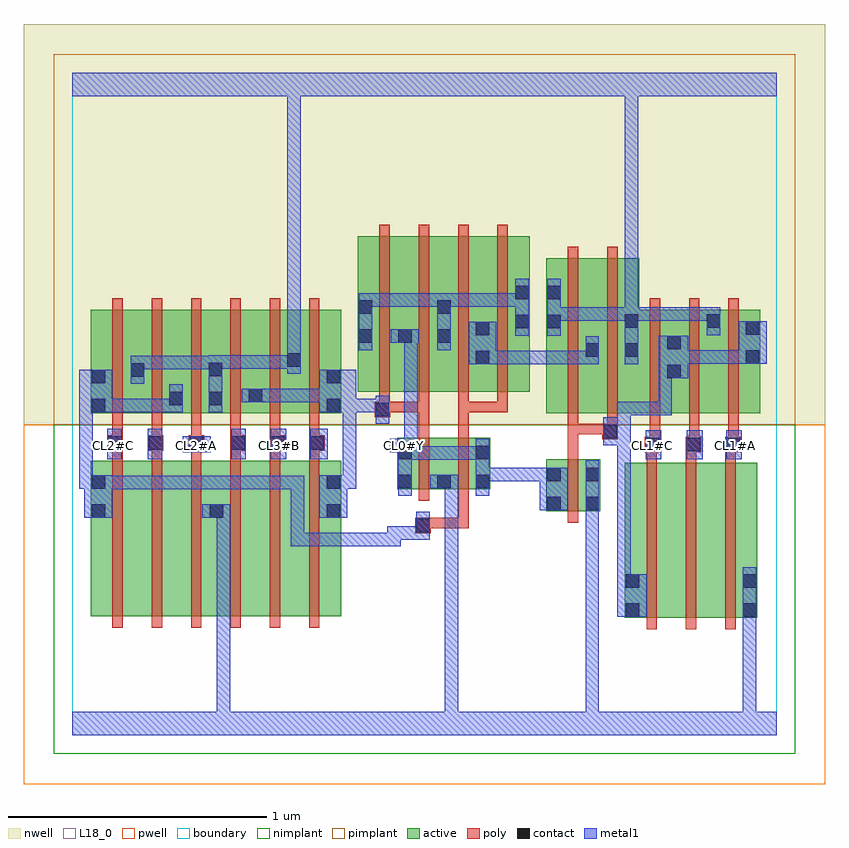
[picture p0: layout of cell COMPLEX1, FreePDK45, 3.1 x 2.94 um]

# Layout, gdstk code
import gdstk
lib = gdstk.Library(unit=1e-6, precision=1e-09)
def R(c, l, rs):  # rectangles x0, y0, x1, y1
    for r in rs: c.add(gdstk.rectangle(r[:2], r[2:], *l))
def A(c, l, x, y, w, h, nx, ny, dx, dy):  # array of equal rectangles
    R(c, l, [(x+i*dx, y+j*dy, x+i*dx+w, y+j*dy+h) for i in range(nx) for j in range(ny)])
active = (1, 0)
pwell = (2, 0)
nwell = (3, 0)
nimplant = (4, 0)
pimplant = (5, 0)
poly = (9, 0)
contact = (10, 0)
metal1 = (11, 0)
L18_0 = (18, 0)
boundary = (235, 0)

complex1 = lib.new_cell('COMPLEX1')
A(complex1, active, 2.294, 1.244, 0.06, 0.4, 3, 1, 0.152, 0)
R(complex1, active, [(2.134,0.454,2.194,1.054), (2.134,0.454,2.314,1.054), (2.314,0.454,2.466,1.054), (2.466,0.454,2.646,1.054), (2.586,0.454,2.646,1.054), (0.07,0.46,0.25,1.06), (0.25,0.46,0.402,1.06), (0.402,0.46,0.586,1.06), (0.526,0.46,0.706,1.06), (0.706,0.46,0.858,1.06), (0.858,0.46,1.038,1.06), (0.07,0.556,0.13,1.06), (0.526,0.556,0.586,0.896), (0.978,0.556,1.038,1.06), (1.83,0.866,1.89,1.066), (1.83,0.866,2.038,1.066), (1.978,0.866,2.038,1.066), (1.254,0.95,1.314,1.15), (1.254,0.95,1.466,1.15), (1.406,0.95,1.614,1.15), (1.406,0.95,1.466,1.01), (1.554,0.95,1.614,1.15), (0.07,1.244,0.13,1.644), (0.07,1.244,0.282,1.644), (0.222,1.244,0.43,1.644), (0.37,1.244,0.43,1.644), (0.37,1.244,0.582,1.644), (0.522,1.244,0.582,1.644), (0.522,1.244,0.738,1.644), (0.678,1.244,0.738,1.644), (0.678,1.244,0.886,1.644), (0.826,1.244,0.886,1.644), (0.826,1.244,1.038,1.644), (0.978,1.244,1.038,1.644), (1.83,1.244,1.89,1.844), (1.83,1.244,2.038,1.844), (1.978,1.244,2.038,1.844), (1.978,1.244,2.19,1.844), (2.13,1.244,2.19,1.844), (2.13,1.244,2.354,1.644), (2.294,1.244,2.506,1.644), (2.446,1.244,2.658,1.644), (1.102,1.328,1.314,1.928), (1.102,1.328,1.162,1.844), (1.254,1.328,1.466,1.928), (1.406,1.328,1.614,1.928), (1.554,1.328,1.766,1.928), (1.706,1.328,1.766,1.844), (0.222,1.382,0.282,1.644), (1.554,1.43,1.614,1.844), (1.254,1.512,1.314,1.844), (1.406,1.512,1.466,1.844)])
R(complex1, pwell, [(-0.188,-0.188,2.908,1.2)])
R(complex1, nwell, [(-0.188,1.2,2.908,2.748)])
R(complex1, nimplant, [(-0.072,-0.072,2.792,1.2)])
R(complex1, pimplant, [(-0.072,1.2,2.792,2.632)])
A(complex1, poly, 2.218, 0.41, 0.04, 0.688, 3, 1, 0.152, 0)
A(complex1, poly, 0.154, 0.416, 0.04, 0.688, 6, 1, 0.152, 0)
A(complex1, poly, 2.218, 1.058, 0.04, 0.076, 3, 1, 0.152, 0)
A(complex1, poly, 0.154, 1.064, 0.04, 0.076, 6, 1, 0.152, 0)
A(complex1, poly, 0.29, 1.1, 0.06, 0.06, 3, 1, 0.16, 0)
A(complex1, poly, 2.23, 1.114, 0.04, 0.126, 3, 1, 0.152, 0)
A(complex1, poly, 0.154, 1.12, 0.04, 0.12, 6, 1, 0.152, 0)
A(complex1, poly, 0.154, 1.2, 0.04, 0.488, 6, 1, 0.152, 0)
A(complex1, poly, 2.23, 1.2, 0.04, 0.488, 3, 1, 0.152, 0)
A(complex1, poly, 1.186, 1.248, 0.04, 0.076, 4, 1, 0.152, 0)
A(complex1, poly, 1.186, 1.284, 0.04, 0.688, 4, 1, 0.152, 0)
R(complex1, poly, [(1.324,0.78,1.384,0.84), (1.344,0.8,1.384,0.84), (1.344,0.8,1.384,0.84), (1.344,0.8,1.53,0.84), (1.49,0.8,1.53,0.84), (1.49,0.8,1.53,0.946), (1.914,0.822,1.954,1.11), (1.338,0.906,1.378,1.194), (1.49,0.906,1.53,1.194), (1.914,1.07,1.954,1.204), (2.21,1.094,2.27,1.154), (2.37,1.094,2.41,1.134), (2.37,1.094,2.41,1.134), (2.37,1.094,2.43,1.154), (2.522,1.094,2.562,1.134), (2.522,1.094,2.562,1.134), (2.522,1.094,2.582,1.154), (0.134,1.1,0.194,1.16), (0.154,1.1,0.194,1.14), (0.154,1.1,0.194,1.14), (0.306,1.1,0.346,1.14), (0.306,1.1,0.346,1.14), (0.61,1.1,0.65,1.14), (0.61,1.1,0.65,1.14), (0.762,1.1,0.802,1.14), (0.762,1.1,0.802,1.14), (0.762,1.1,0.822,1.16), (0.914,1.1,0.954,1.14), (0.914,1.1,0.954,1.14), (0.914,1.1,0.974,1.16), (2.23,1.114,2.27,1.154), (2.23,1.114,2.27,1.154), (0.458,1.12,0.498,1.16), (0.458,1.12,0.498,1.16), (2.046,1.144,2.106,1.204), (1.338,1.154,1.378,1.288), (1.49,1.154,1.53,1.288), (1.914,1.164,1.954,1.204), (1.914,1.164,1.954,1.204), (1.914,1.164,1.954,1.204), (1.914,1.164,1.954,1.204), (1.914,1.164,1.954,1.204), (1.914,1.164,1.954,1.24), (1.914,1.164,2.086,1.204), (2.066,1.164,2.106,1.24), (1.914,1.2,1.954,1.888), (2.066,1.2,2.106,1.888), (1.168,1.228,1.228,1.288), (1.188,1.248,1.228,1.288), (1.188,1.248,1.228,1.288), (1.188,1.248,1.378,1.288), (1.338,1.248,1.378,1.288), (1.338,1.248,1.378,1.288), (1.338,1.248,1.378,1.288), (1.49,1.248,1.53,1.288), (1.49,1.248,1.53,1.288), (1.49,1.248,1.53,1.288), (1.49,1.248,1.682,1.288), (1.642,1.248,1.682,1.288), (1.642,1.248,1.682,1.288), (1.642,1.248,1.682,1.288)])
A(complex1, contact, 0.294, 1.104, 0.052, 0.052, 3, 1, 0.16, 0)
A(complex1, contact, 1.106, 1.516, 0.052, 0.052, 3, 1, 0.152, 0)
R(complex1, contact, [(2.138,0.458,2.19,0.51), (2.59,0.458,2.642,0.51), (2.138,0.57,2.19,0.622), (2.59,0.57,2.642,0.622), (1.328,0.784,1.38,0.836), (0.074,0.84,0.126,0.892), (0.53,0.84,0.582,0.892), (0.982,0.84,1.034,0.892), (1.834,0.87,1.886,0.922), (1.982,0.87,2.034,0.922), (0.074,0.952,0.126,1.004), (0.982,0.952,1.034,1.004), (1.258,0.954,1.31,1.006), (1.41,0.954,1.462,1.006), (1.558,0.954,1.61,1.006), (1.834,0.982,1.886,1.034), (1.982,0.982,2.034,1.034), (1.258,1.066,1.31,1.118), (1.558,1.066,1.61,1.118), (2.214,1.098,2.266,1.15), (2.374,1.098,2.426,1.15), (2.526,1.098,2.578,1.15), (0.138,1.104,0.19,1.156), (0.766,1.104,0.818,1.156), (0.918,1.104,0.97,1.156), (2.05,1.148,2.102,1.2), (1.172,1.232,1.224,1.284), (0.074,1.248,0.126,1.3), (0.982,1.248,1.034,1.3), (0.374,1.276,0.426,1.328), (0.526,1.276,0.578,1.328), (0.682,1.286,0.734,1.338), (0.074,1.36,0.126,1.412), (0.982,1.36,1.034,1.412), (2.298,1.38,2.35,1.432), (0.226,1.386,0.278,1.438), (0.526,1.388,0.578,1.44), (0.83,1.424,0.882,1.476), (1.558,1.434,1.61,1.486), (2.602,1.436,2.654,1.488), (1.982,1.462,2.034,1.514), (2.134,1.462,2.186,1.514), (2.298,1.492,2.35,1.544), (1.558,1.546,1.61,1.598), (2.602,1.548,2.654,1.6), (1.71,1.572,1.762,1.624), (1.834,1.572,1.886,1.624), (2.134,1.574,2.186,1.626), (2.45,1.574,2.502,1.626), (1.106,1.628,1.158,1.68), (1.41,1.628,1.462,1.68), (1.71,1.684,1.762,1.736), (1.834,1.684,1.886,1.736)])
A(complex1, metal1, 1.218, 1.656, 0.052, 0.052, 3, 1, 0.11, 0)
R(complex1, metal1, [(0,0,2.72,0.092), (0.558,0.04,0.61,0.092), (0.558,0.04,0.61,0.092), (0.558,0.04,0.61,0.092), (0.558,0.04,0.61,0.092), (0.558,0.04,0.61,0.092), (0.558,0.04,0.61,0.092), (0.558,0.04,0.61,0.092), (0.558,0.04,0.61,0.092), (0.558,0.04,0.61,0.892), (1.438,0.04,1.49,0.092), (1.438,0.04,1.49,0.092), (1.438,0.04,1.49,0.092), (1.438,0.04,1.49,0.092), (1.438,0.04,1.49,0.092), (1.438,0.04,1.49,0.092), (1.438,0.04,1.49,0.092), (1.438,0.04,1.49,0.092), (1.438,0.04,1.49,0.092), (1.438,0.04,1.49,0.092), (1.438,0.04,1.49,0.092), (1.438,0.04,1.49,0.092), (1.438,0.04,1.49,0.924), (1.982,0.04,2.034,0.092), (1.982,0.04,2.034,0.092), (1.982,0.04,2.034,0.092), (1.982,0.04,2.034,0.092), (1.982,0.04,2.034,0.092), (1.982,0.04,2.034,0.092), (1.982,0.04,2.034,0.092), (1.982,0.04,2.034,0.092), (1.982,0.04,2.034,0.092), (1.982,0.04,2.034,0.092), (1.982,0.04,2.034,0.092), (1.982,0.04,2.034,0.092), (1.982,0.04,2.034,0.092), (1.982,0.04,2.034,0.092), (1.982,0.04,2.034,0.092), (1.982,0.04,2.034,0.092), (1.982,0.04,2.034,0.894), (2.59,0.04,2.642,0.482), (2.59,0.43,2.642,0.482), (2.59,0.43,2.642,0.482), (2.59,0.43,2.642,0.482), (2.59,0.43,2.642,0.482), (2.59,0.43,2.642,0.482), (2.59,0.43,2.642,0.482), (2.59,0.43,2.642,0.482), (2.59,0.43,2.642,0.482), (2.59,0.43,2.642,0.65), (2.104,0.458,2.218,0.622), (2.104,0.57,2.156,0.622), (2.104,0.57,2.156,0.622), (2.104,0.57,2.156,1.228), (0.844,0.73,0.896,0.782), (0.844,0.73,0.896,0.782), (0.844,0.73,0.896,0.782), (0.844,0.73,1.114,0.782), (0.844,0.73,0.896,1.002), (1.062,0.73,1.114,0.782), (1.062,0.73,1.114,0.782), (1.062,0.73,1.114,0.782), (1.062,0.73,1.268,0.782), (1.216,0.73,1.268,0.808), (1.216,0.756,1.268,0.808), (1.216,0.756,1.268,0.808), (1.216,0.756,1.268,0.808), (1.216,0.756,1.268,0.808), (1.216,0.756,1.38,0.808), (1.328,0.756,1.38,0.864), (0.046,0.84,0.154,1.004), (0.502,0.84,0.61,0.892), (0.954,0.84,1.062,1.004), (1.982,0.842,2.034,1.062), (1.806,0.87,1.914,1.034), (1.438,0.872,1.49,0.924), (1.438,0.872,1.49,0.924), (1.438,0.872,1.49,0.924), (1.438,0.872,1.49,1.006), (1.258,0.926,1.31,1.146), (1.558,0.926,1.61,1.146), (0.102,0.95,0.154,1.002), (0.102,0.95,0.154,1.002), (0.102,0.95,0.278,1.002), (0.226,0.95,0.278,1.002), (0.226,0.95,0.278,1.002), (0.226,0.95,0.278,1.002), (0.226,0.95,0.388,1.002), (0.336,0.95,0.388,1.002), (0.336,0.95,0.388,1.002), (0.336,0.95,0.388,1.002), (0.336,0.95,0.498,1.002), (0.446,0.95,0.498,1.002), (0.446,0.95,0.498,1.002), (0.446,0.95,0.498,1.002), (0.446,0.95,0.688,1.002), (0.636,0.95,0.688,1.002), (0.636,0.95,0.688,1.002), (0.636,0.95,0.688,1.002), (0.636,0.95,0.896,1.002), (0.844,0.95,0.896,1.002), (0.026,0.952,0.078,1.3), (0.026,0.952,0.098,1.004), (0.046,0.952,0.098,1.004), (1.01,0.952,1.062,1.004), (1.01,0.952,1.096,1.004), (1.044,0.952,1.096,1.3), (1.382,0.954,1.49,1.006), (1.558,0.982,1.748,1.034), (1.696,0.982,1.748,1.034), (1.696,0.982,1.748,1.034), (1.696,0.982,1.748,1.034), (1.696,0.982,1.858,1.034), (1.258,1.064,1.38,1.116), (1.328,1.064,1.38,1.116), (1.328,1.064,1.444,1.116), (1.392,1.064,1.444,1.116), (1.392,1.064,1.49,1.116), (1.438,1.064,1.49,1.116), (1.438,1.064,1.61,1.116), (0.134,1.066,0.19,1.184), (0.29,1.066,0.346,1.184), (0.614,1.066,0.67,1.184), (0.766,1.066,0.826,1.184), (0.918,1.066,0.986,1.184), (2.214,1.066,2.274,1.178), (2.374,1.066,2.434,1.178), (2.526,1.066,2.586,1.178), (0.426,1.094,0.534,1.156), (1.226,1.094,1.334,1.146), (1.258,1.094,1.31,1.146), (1.282,1.094,1.334,1.568), (2.05,1.12,2.102,1.228), (2.05,1.176,2.156,1.228), (2.104,1.176,2.156,1.288), (1.172,1.204,1.224,1.312), (2.104,1.236,2.212,1.288), (2.16,1.236,2.212,1.288), (2.16,1.236,2.316,1.288), (2.264,1.236,2.316,1.288), (2.264,1.236,2.316,1.432), (0.026,1.248,0.078,1.3), (0.026,1.248,0.078,1.3), (0.026,1.248,0.154,1.412), (0.102,1.248,0.154,1.3), (0.102,1.248,0.154,1.3), (0.102,1.248,0.264,1.3), (0.212,1.248,0.264,1.3), (0.212,1.248,0.264,1.3), (0.212,1.248,0.264,1.3), (0.212,1.248,0.426,1.3), (0.374,1.248,0.426,1.356), (0.526,1.248,0.578,1.468), (0.954,1.248,1.096,1.412), (1.044,1.248,1.096,1.3), (1.044,1.248,1.096,1.3), (1.044,1.248,1.096,1.3), (1.044,1.248,1.096,1.3), (1.044,1.248,1.224,1.3), (0.654,1.286,0.762,1.338), (0.71,1.286,0.762,1.338), (0.71,1.286,0.762,1.338), (0.71,1.286,0.882,1.338), (0.83,1.286,0.882,1.338), (0.83,1.286,0.882,1.338), (0.83,1.286,0.882,1.338), (0.83,1.286,1.006,1.338), (0.226,1.358,0.278,1.466), (2.264,1.38,2.378,1.544), (0.83,1.396,0.882,1.504), (0.226,1.414,0.278,1.466), (0.226,1.414,0.278,1.466), (0.226,1.414,0.388,1.466), (0.336,1.414,0.388,1.466), (0.336,1.414,0.388,1.466), (0.336,1.414,0.388,1.466), (0.336,1.414,0.578,1.466), (0.526,1.416,0.578,1.468), (0.526,1.416,0.578,1.468), (0.526,1.416,0.772,1.468), (0.72,1.416,0.772,1.468), (0.72,1.416,0.772,1.468), (0.72,1.416,0.772,1.468), (0.72,1.416,0.882,1.468), (1.53,1.434,1.638,1.598), (1.586,1.434,1.638,1.486), (1.586,1.434,1.638,1.486), (1.586,1.434,1.748,1.486), (1.696,1.434,1.748,1.486), (1.696,1.434,1.924,1.486), (1.872,1.434,1.924,1.486), (1.872,1.434,1.924,1.486), (1.872,1.434,1.924,1.486), (1.872,1.434,2.034,1.486), (1.982,1.434,2.034,1.542), (2.134,1.434,2.186,1.654), (2.326,1.436,2.378,1.488), (2.326,1.436,2.378,1.488), (2.326,1.436,2.488,1.488), (2.436,1.436,2.626,1.488), (2.436,1.436,2.488,1.488), (2.436,1.436,2.488,1.488), (2.436,1.436,2.488,1.488), (2.574,1.436,2.682,1.6), (0.83,1.452,0.882,2.52), (1.106,1.488,1.158,1.708), (1.41,1.488,1.462,1.708), (1.23,1.516,1.338,1.568), (1.282,1.516,1.334,1.568), (1.282,1.516,1.334,1.568), (1.71,1.544,1.762,1.764), (1.834,1.544,1.886,1.764), (2.45,1.546,2.502,1.654), (1.834,1.602,1.886,1.654), (1.834,1.602,1.886,1.654), (1.834,1.602,2.046,1.654), (1.994,1.602,2.046,1.654), (1.994,1.602,2.046,1.654), (1.994,1.602,2.046,1.654), (1.994,1.602,2.186,1.654), (2.134,1.602,2.212,1.654), (2.134,1.602,2.186,2.52), (2.16,1.602,2.212,1.654), (2.16,1.602,2.322,1.654), (2.27,1.602,2.322,1.654), (2.27,1.602,2.322,1.654), (2.27,1.602,2.322,1.654), (2.27,1.602,2.322,1.654), (2.27,1.602,2.322,1.654), (2.27,1.602,2.322,1.654), (2.27,1.602,2.322,1.654), (2.27,1.602,2.502,1.654), (1.106,1.656,1.27,1.708), (1.218,1.656,1.27,1.708), (1.218,1.656,1.27,1.708), (1.218,1.656,1.38,1.708), (1.328,1.656,1.462,1.708), (1.41,1.656,1.49,1.708), (1.438,1.656,1.638,1.708), (1.586,1.656,1.638,1.708), (1.586,1.656,1.638,1.708), (1.586,1.656,1.638,1.708), (1.586,1.656,1.762,1.708), (0,2.468,2.72,2.56), (0.83,2.468,0.882,2.52), (0.83,2.468,0.882,2.52), (0.83,2.468,0.882,2.52), (0.83,2.468,0.882,2.52), (0.83,2.468,0.882,2.52), (0.83,2.468,0.882,2.52), (0.83,2.468,0.882,2.52), (0.83,2.468,0.882,2.52), (0.83,2.468,0.882,2.52), (0.83,2.468,0.882,2.52), (0.83,2.468,0.882,2.52), (0.83,2.468,0.882,2.52), (0.83,2.468,0.882,2.52), (0.83,2.468,0.882,2.52), (0.83,2.468,0.882,2.52), (0.83,2.468,0.882,2.52), (2.134,2.468,2.186,2.52), (2.134,2.468,2.186,2.52), (2.134,2.468,2.186,2.52), (2.134,2.468,2.186,2.52), (2.134,2.468,2.186,2.52), (2.134,2.468,2.186,2.52), (2.134,2.468,2.186,2.52), (2.134,2.468,2.186,2.52), (2.134,2.468,2.186,2.52), (2.134,2.468,2.186,2.52), (2.134,2.468,2.186,2.52), (2.134,2.468,2.186,2.52)])
A(complex1, L18_0, 0.134, 1.094, 0.052, 0.052, 6, 1, 0.16, 0)
A(complex1, L18_0, 2.214, 1.094, 0.052, 0.052, 3, 1, 0.16, 0)
R(complex1, L18_0, [(0,0,2.72,0.092), (0.558,0.04,0.61,0.092), (0.558,0.04,0.61,0.092), (0.558,0.04,0.61,0.092), (0.558,0.04,0.61,0.092), (0.558,0.04,0.61,0.092), (0.558,0.04,0.61,0.092), (0.558,0.04,0.61,0.092), (0.558,0.04,0.61,0.092), (0.558,0.04,0.61,0.892), (1.438,0.04,1.49,0.092), (1.438,0.04,1.49,0.092), (1.438,0.04,1.49,0.092), (1.438,0.04,1.49,0.092), (1.438,0.04,1.49,0.092), (1.438,0.04,1.49,0.092), (1.438,0.04,1.49,0.092), (1.438,0.04,1.49,0.092), (1.438,0.04,1.49,0.092), (1.438,0.04,1.49,0.092), (1.438,0.04,1.49,0.092), (1.438,0.04,1.49,0.092), (1.438,0.04,1.49,0.924), (1.982,0.04,2.034,0.092), (1.982,0.04,2.034,0.092), (1.982,0.04,2.034,0.092), (1.982,0.04,2.034,0.092), (1.982,0.04,2.034,0.092), (1.982,0.04,2.034,0.092), (1.982,0.04,2.034,0.092), (1.982,0.04,2.034,0.092), (1.982,0.04,2.034,0.092), (1.982,0.04,2.034,0.092), (1.982,0.04,2.034,0.092), (1.982,0.04,2.034,0.092), (1.982,0.04,2.034,0.092), (1.982,0.04,2.034,0.092), (1.982,0.04,2.034,0.092), (1.982,0.04,2.034,0.092), (1.982,0.04,2.034,0.894), (2.59,0.04,2.642,0.482), (2.59,0.43,2.642,0.482), (2.59,0.43,2.642,0.482), (2.59,0.43,2.642,0.482), (2.59,0.43,2.642,0.482), (2.59,0.43,2.642,0.482), (2.59,0.43,2.642,0.482), (2.59,0.43,2.642,0.482), (2.59,0.43,2.642,0.482), (2.59,0.43,2.642,0.65), (0.502,0.84,0.61,0.892), (1.982,0.842,2.034,1.062), (1.806,0.87,1.914,1.034), (1.438,0.872,1.49,0.924), (1.438,0.872,1.49,0.924), (1.438,0.872,1.49,0.924), (1.438,0.872,1.49,1.006), (1.258,0.926,1.31,1.146), (1.558,0.926,1.61,1.146), (1.382,0.954,1.49,1.006), (1.558,0.982,1.748,1.034), (1.696,0.982,1.748,1.034), (1.696,0.982,1.748,1.034), (1.696,0.982,1.748,1.034), (1.696,0.982,1.858,1.034), (1.258,1.064,1.38,1.116), (1.328,1.064,1.38,1.116), (1.328,1.064,1.444,1.116), (1.392,1.064,1.444,1.116), (1.392,1.064,1.49,1.116), (1.438,1.064,1.49,1.116), (1.438,1.064,1.61,1.116), (0.134,1.066,0.19,1.184), (0.29,1.066,0.346,1.184), (0.614,1.066,0.67,1.184), (0.766,1.066,0.826,1.184), (0.918,1.066,0.986,1.184), (2.214,1.066,2.274,1.178), (2.374,1.066,2.434,1.178), (2.526,1.066,2.586,1.178), (0.426,1.094,0.534,1.156), (1.226,1.094,1.334,1.146), (1.254,1.094,1.306,1.146), (1.258,1.094,1.31,1.146), (1.282,1.094,1.334,1.568), (0.526,1.248,0.578,1.468), (0.226,1.358,0.278,1.466), (0.83,1.396,0.882,1.504), (0.226,1.414,0.278,1.466), (0.226,1.414,0.278,1.466), (0.226,1.414,0.388,1.466), (0.336,1.414,0.388,1.466), (0.336,1.414,0.388,1.466), (0.336,1.414,0.388,1.466), (0.336,1.414,0.578,1.466), (0.526,1.416,0.578,1.468), (0.526,1.416,0.578,1.468), (0.526,1.416,0.772,1.468), (0.72,1.416,0.772,1.468), (0.72,1.416,0.772,1.468), (0.72,1.416,0.772,1.468), (0.72,1.416,0.882,1.468), (2.134,1.434,2.186,1.654), (0.83,1.452,0.882,2.52), (1.23,1.516,1.338,1.568), (1.282,1.516,1.334,1.568), (1.282,1.516,1.334,1.568), (1.834,1.544,1.886,1.764), (2.45,1.546,2.502,1.654), (1.834,1.602,1.886,1.654), (1.834,1.602,1.886,1.654), (1.834,1.602,2.046,1.654), (1.994,1.602,2.046,1.654), (1.994,1.602,2.046,1.654), (1.994,1.602,2.046,1.654), (1.994,1.602,2.186,1.654), (2.134,1.602,2.186,2.52), (2.134,1.602,2.212,1.654), (2.16,1.602,2.212,1.654), (2.16,1.602,2.322,1.654), (2.27,1.602,2.322,1.654), (2.27,1.602,2.322,1.654), (2.27,1.602,2.322,1.654), (2.27,1.602,2.322,1.654), (2.27,1.602,2.322,1.654), (2.27,1.602,2.322,1.654), (2.27,1.602,2.322,1.654), (2.27,1.602,2.502,1.654), (0,2.468,2.72,2.56), (0.83,2.468,0.882,2.52), (0.83,2.468,0.882,2.52), (0.83,2.468,0.882,2.52), (0.83,2.468,0.882,2.52), (0.83,2.468,0.882,2.52), (0.83,2.468,0.882,2.52), (0.83,2.468,0.882,2.52), (0.83,2.468,0.882,2.52), (0.83,2.468,0.882,2.52), (0.83,2.468,0.882,2.52), (0.83,2.468,0.882,2.52), (0.83,2.468,0.882,2.52), (0.83,2.468,0.882,2.52), (0.83,2.468,0.882,2.52), (0.83,2.468,0.882,2.52), (0.83,2.468,0.882,2.52), (2.134,2.468,2.186,2.52), (2.134,2.468,2.186,2.52), (2.134,2.468,2.186,2.52), (2.134,2.468,2.186,2.52), (2.134,2.468,2.186,2.52), (2.134,2.468,2.186,2.52), (2.134,2.468,2.186,2.52), (2.134,2.468,2.186,2.52), (2.134,2.468,2.186,2.52), (2.134,2.468,2.186,2.52), (2.134,2.468,2.186,2.52), (2.134,2.468,2.186,2.52)])
R(complex1, boundary, [(0,0,2.72,2.56)])
complex1.add(gdstk.Label('CL0#Y', (1.28,1.12), layer=11, texttype=0))
complex1.add(gdstk.Label('CL1#A', (2.56,1.12), layer=11, texttype=0))
complex1.add(gdstk.Label('CL1#B', (2.4,1.12), layer=11, texttype=0))
complex1.add(gdstk.Label('CL1#C', (2.24,1.12), layer=11, texttype=0))
complex1.add(gdstk.Label('CL2#A', (0.48,1.12), layer=11, texttype=0))
complex1.add(gdstk.Label('CL2#B', (0.32,1.12), layer=11, texttype=0))
complex1.add(gdstk.Label('CL2#C', (0.16,1.12), layer=11, texttype=0))
complex1.add(gdstk.Label('CL3#A', (0.64,1.12), layer=11, texttype=0))
complex1.add(gdstk.Label('CL3#B', (0.8,1.12), layer=11, texttype=0))
complex1.add(gdstk.Label('CL3#C', (0.96,1.12), layer=11, texttype=0))

lib.write_gds('COMPLEX1.gds')
